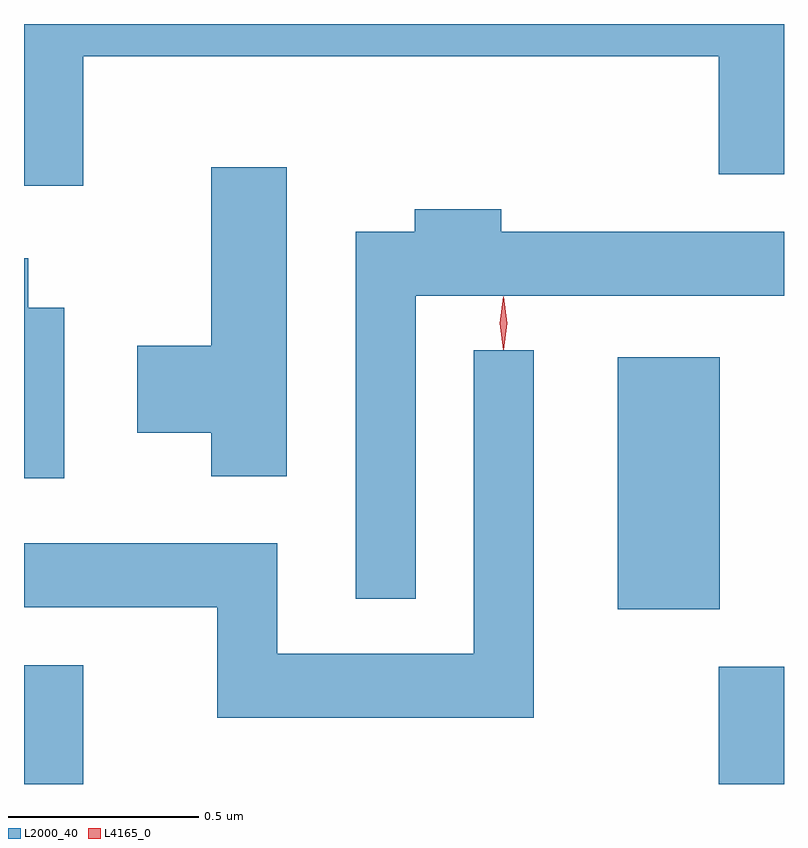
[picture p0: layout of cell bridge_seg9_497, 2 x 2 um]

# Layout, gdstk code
import gdstk
lib = gdstk.Library(unit=1e-6, precision=1e-09)
def R(c, l, rs):  # rectangles x0, y0, x1, y1
    for r in rs: c.add(gdstk.rectangle(r[:2], r[2:], *l))
def P(c, l, *ps):  # polygons
    for p in ps: c.add(gdstk.Polygon(p, *l))
L2000_40 = (2000, 40)
L4165_0 = (4165, 0)

bridge_seg9_497 = lib.new_cell('bridge_seg9_497')
R(bridge_seg9_497, L2000_40, [(578.513,1976.581,578.669,1976.894), (580.341,1976.581,580.513,1976.889), (580.076,1977.041,580.344,1977.704)])
P(bridge_seg9_497, L2000_40, [(578.669,1978.496),(580.341,1978.496),(580.341,1978.186),(580.513,1978.186),(580.513,1978.581),(578.513,1978.581),(578.513,1978.156),(578.669,1978.156)],
  [(579.204,1978.204),(579.006,1978.204),(579.006,1977.734),(578.811,1977.734),(578.811,1977.506),(579.006,1977.506),(579.006,1977.391),(579.204,1977.391)],
  [(579.544,1977.866),(580.513,1977.866),(580.513,1978.034),(579.769,1978.034),(579.769,1978.094),(579.541,1978.094),(579.541,1978.034),(579.386,1978.034),(579.386,1977.068),(579.544,1977.068)],
  [(578.619,1977.834),(578.524,1977.834),(578.524,1977.964),(578.513,1977.964),(578.513,1977.386),(578.619,1977.386)],
  [(579.854,1977.723),(579.696,1977.723),(579.696,1976.924),(579.179,1976.924),(579.179,1977.214),(578.513,1977.214),(578.513,1977.046),(579.021,1977.046),(579.021,1976.756),(579.854,1976.756)])
P(bridge_seg9_497, L4165_0, [(579.774,1977.727),(579.765,1977.794),(579.774,1977.86),(579.775,1977.861),(579.775,1977.86),(579.785,1977.794),(579.775,1977.727),(579.775,1977.727)],
  [(579.774,1977.724),(579.765,1977.793),(579.774,1977.863),(579.775,1977.863),(579.775,1977.863),(579.785,1977.793),(579.775,1977.724),(579.775,1977.724)])

lib.write_gds('bridge_seg9_497.gds')
